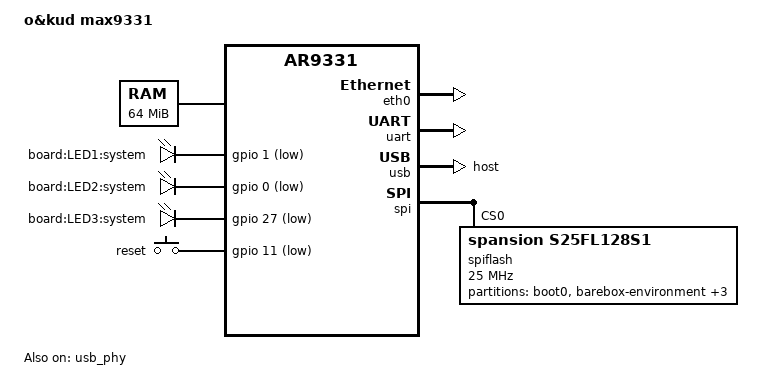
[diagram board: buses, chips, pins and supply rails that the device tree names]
// SPDX-License-Identifier: GPL-2.0
/dts-v1/;
#include <mips/qca/ar9331.dtsi>

#include <dt-bindings/gpio/gpio.h>
#include <dt-bindings/input/input.h>

#include "ar9331.dtsi"

/ {
	model = "o&kud max9331";
	compatible = "okud,max9331";
	barebox,disable-deep-probe;

	aliases {
		spiflash = &spiflash;
		serial0 = &uart;
	};

	chosen {
		stdout-path = &uart;

		environment {
			compatible = "barebox,environment";
			device-path = &env_nor;
		};

		art@0 {
			compatible = "qca,art-ar9331", "qca,art";
			device-path = &spiflash_art;
			barebox,provide-mac-address = <&eth0>;
		};
	};

	memory@0 {
		device_type = "memory";
		reg = <0x0 0x4000000>;
	};

	/* FIXME: leds and gpio */
	leds {
		compatible = "gpio-leds";

		net {
			label = "board:LED1:system";
			gpios = <&gpio 1 GPIO_ACTIVE_LOW>;
			default-state = "off";
			barebox,default-trigger = "net";
		};

		panic {
			label = "board:LED2:system";
			gpios = <&gpio 0 GPIO_ACTIVE_LOW>;
			default-state = "on";
			barebox,default-trigger = "panic";
		};

		system {
			label = "board:LED3:system";
			gpios = <&gpio 27 GPIO_ACTIVE_LOW>;
			default-state = "off";
			barebox,default-trigger = "heartbeat";
		};
	};

	gpio-keys {
		compatible = "gpio-keys";
		#address-cells = <1>;
		#size-cells = <0>;

		button@0 {
			label = "reset";
			linux,code = <KEY_ENTER>;
			gpios = <&gpio 11 GPIO_ACTIVE_LOW>;
		};
	};
};

&eth0 {
	status = "okay";
};

&ref {
	clock-frequency = <25000000>;
};

&uart {
	status = "okay";
};

&gpio {
	status = "okay";
};

&usb {
	dr_mode = "host";
	status = "okay";
};

&usb_phy {
	status = "okay";
};

&spi {
	num-chipselects = <1>;
	status = "okay";

	/* Spansion FL128SA SPI flash */
	spiflash: s25fl128s@0 {
		#address-cells = <1>;
		#size-cells = <1>;
		compatible = "spansion,s25fl128s1", "jedec,spi-nor";
		spi-max-frequency = <25000000>;
		reg = <0>;
	};
};

&spiflash {
	partition@0 {
		label = "boot0";
		reg = <0 0x10000>;
	};

	env_nor: partition@10000 {
		label = "barebox-environment";
		reg = <0x10000 0x10000>;
	};

	partition@20000 {
		label = "barebox";
		reg = <0x20000 0x80000>;
	};

	partition@a0000 {
		label = "kernel";
		reg = <0xA0000 0xF50000>;
	};

	spiflash_art: partition@ff0000 {
		label = "art";
		reg = <0xff0000 0x10000>;
	};
};
